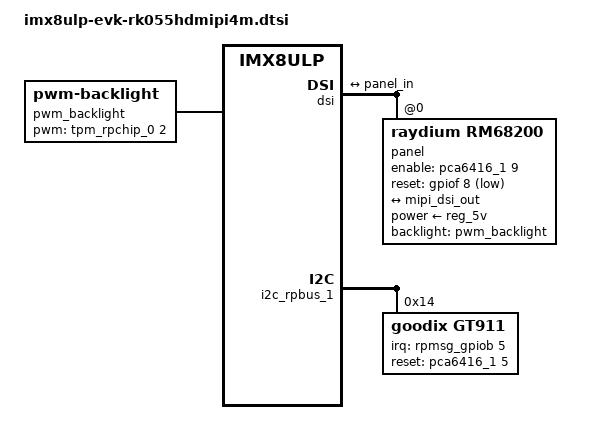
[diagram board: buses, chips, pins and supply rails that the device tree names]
// SPDX-License-Identifier: GPL-2.0+
/*
 * Copyright 2022 NXP
 */

/ {
	pwm_backlight: backlight {
		compatible = "pwm-backlight";
		pwms = <&tpm_rpchip_0 2 50000 0>;
		brightness-levels = < 0  1  2  3  4  5  6  7  8  9
				     10 11 12 13 14 15 16 17 18 19
				     20 21 22 23 24 25 26 27 28 29
				     30 31 32 33 34 35 36 37 38 39
				     40 41 42 43 44 45 46 47 48 49
				     50 51 52 53 54 55 56 57 58 59
				     60 61 62 63 64 65 66 67 68 69
				     70 71 72 73 74 75 76 77 78 79
				     80 81 82 83 84 85 86 87 88 89
				     90 91 92 93 94 95 96 97 98 99
				    100>;
		default-brightness-level = <100>;
	};
};

/delete-node/ &ite_bridge;

&dsi {
	panel@0 {
		compatible = "raydium,rm68200";
		reg = <0>;
		pinctrl-names = "default";
		pinctrl-0 = <&pinctrl_dsi>;
		enable-gpios = <&pca6416_1 9 GPIO_ACTIVE_HIGH>;
		reset-gpios = <&gpiof 8 GPIO_ACTIVE_LOW>;
		power-supply = <&reg_5v>;
		backlight = <&pwm_backlight>;

		port {
			panel_in: endpoint {
				remote-endpoint = <&mipi_dsi_out>;
			};
		};
	};

	ports {
		port@1 {
			reg = <1>;

			mipi_dsi_out: endpoint {
				remote-endpoint = <&panel_in>;
			};
		};
	};
};

&i2c_rpbus_1 {
	goodix@14 {
		compatible = "goodix,gt911";
		reg = <0x14>;
		interrupt-parent = <&rpmsg_gpiob>;
		interrupts = <5 IRQ_TYPE_EDGE_FALLING>;
		irq-gpios = <&rpmsg_gpiob 5 GPIO_ACTIVE_HIGH>;
		reset-gpios = <&pca6416_1 5 GPIO_ACTIVE_HIGH>;
		touchscreen-size-x = <720>;
		touchscreen-size-y = <1280>;
	};
};
